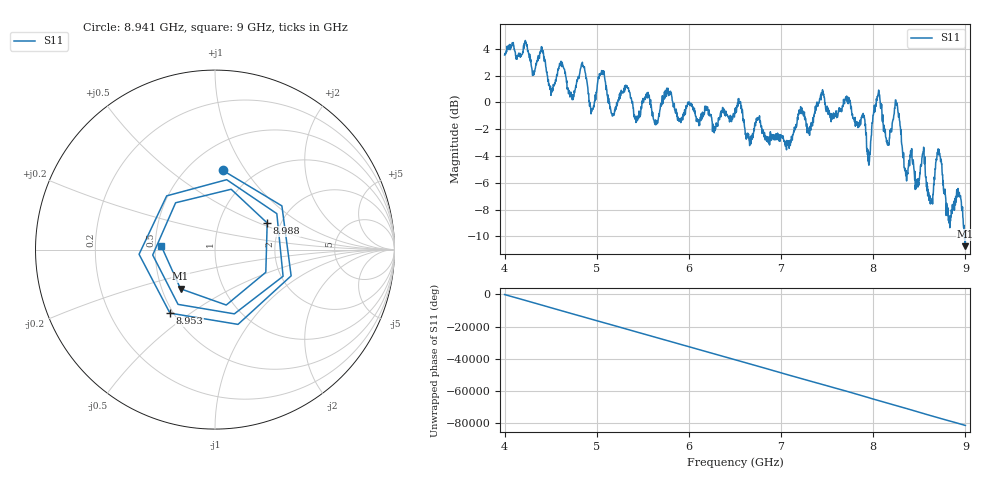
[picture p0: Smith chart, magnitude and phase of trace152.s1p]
! Created with skrf 1.8.0 (http://scikit-rf.org).
# Hz S RI R 50.0
!freq ReS11 ImS11
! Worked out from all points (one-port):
!   1601 points, 4 GHz to 9 GHz, reference 50 ohm
!   lowest |S11| = -10.7 dB at 8.997 GHz (marker M1), VSWR 1.82, Z = 31.2 - j14.9 ohm
!   |S11| at or under -10 dB: 8.989847 GHz to end of sweep
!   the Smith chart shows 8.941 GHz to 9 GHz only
!   S11 on the Smith chart (normalised r, x): 8.941 GHz: 0.72, +0.80; 8.953 GHz: 0.48, -0.42; 8.988 GHz: 1.70, +0.57; 9 GHz: 0.54, +0.03
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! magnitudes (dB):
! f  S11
! 4 GHz  3.5
! 4.406 GHz  4.1
! 4.503 GHz  0.5
! 4.625 GHz  3.0
! 4.728 GHz  0.6
! 4.853 GHz  2.7
! 4.947 GHz  -0.6
! 5.053 GHz  2.4
! 5.166 GHz  -0.9
! 5.25 GHz  0.3
! 5.875 GHz  -1.2
! 6.5 GHz  -0.7
! 7.125 GHz  -2.4
! 7.75 GHz  0.0
! 7.953 GHz  -4.7
! 8.047 GHz  0.4
! 8.153 GHz  -3.1
! 8.256 GHz  -0.2
! 8.375 GHz  -5.3
! 8.538 GHz  -3.8
! 8.628 GHz  -7.4
! 8.712 GHz  -3.5
! 8.816 GHz  -8.8
! 8.941 GHz  -7.1
! 8.953 GHz  -7.3
! 8.988 GHz  -9.7
! 8.997 GHz  -10.7
! 9 GHz  -10.4
